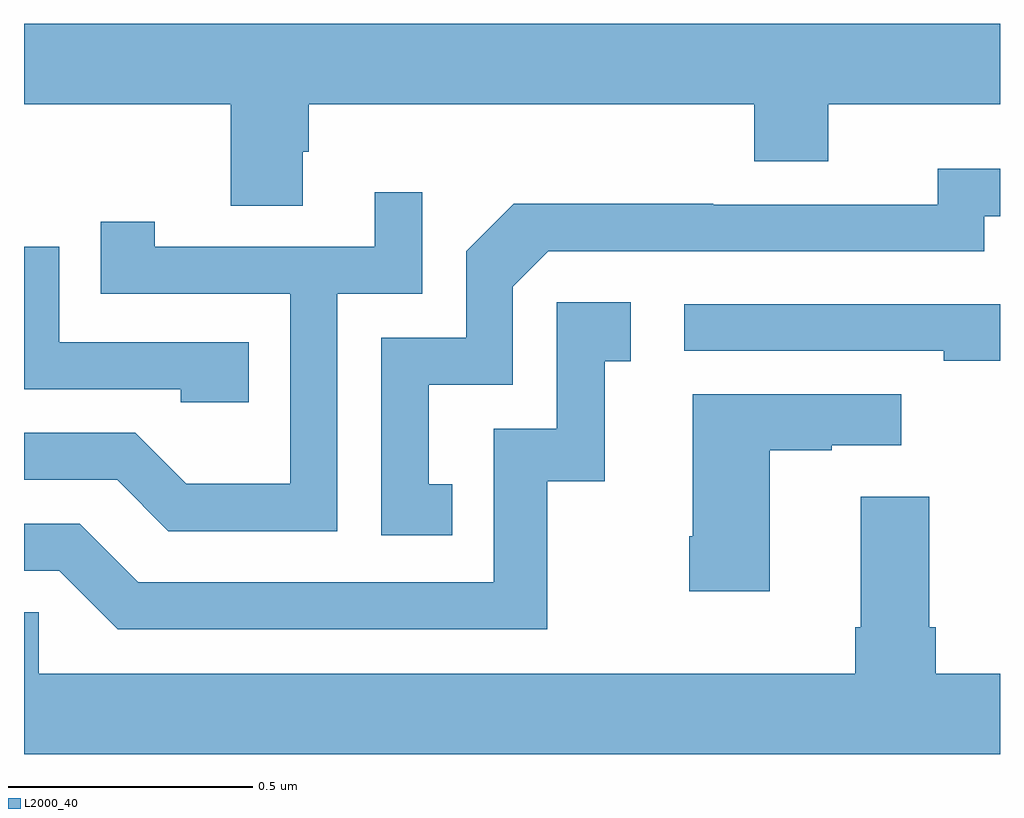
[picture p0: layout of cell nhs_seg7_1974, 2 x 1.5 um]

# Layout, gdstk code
import gdstk
lib = gdstk.Library(unit=1e-6, precision=1e-09)
def P(c, l, *ps):  # polygons
    for p in ps: c.add(gdstk.Polygon(p, *l))
L2000_40 = (2000, 40)

nhs_seg7_1974 = lib.new_cell('nhs_seg7_1974')
P(nhs_seg7_1974, L2000_40, [(138.571,1068.45),(138.584,1068.45),(138.584,1068.548),(139.496,1068.548),(139.496,1068.431),(139.648,1068.431),(139.648,1068.548),(140,1068.548),(140,1068.712),(138,1068.712),(138,1068.548),(138.424,1068.548),(138.424,1068.34),(138.571,1068.34)],
  [(138.878,1067.769),(138.829,1067.769),(138.829,1067.973),(139.002,1067.973),(139.002,1068.174),(139.074,1068.246),(139.968,1068.246),(139.968,1068.318),(140,1068.318),(140,1068.415),(139.872,1068.415),(139.872,1068.342),(139.412,1068.342),(139.412,1068.344),(139.004,1068.344),(138.906,1068.246),(138.906,1068.069),(138.732,1068.069),(138.732,1067.664),(138.878,1067.664)],
  [(138.642,1068.159),(138.816,1068.159),(138.816,1068.367),(138.719,1068.367),(138.719,1068.255),(138.268,1068.255),(138.268,1068.307),(138.157,1068.307),(138.157,1068.159),(138.546,1068.159),(138.546,1067.77),(138.332,1067.77),(138.228,1067.874),(138,1067.874),(138,1067.778),(138.191,1067.778),(138.296,1067.673),(138.642,1067.673)],
  [(138.461,1068.06),(138.072,1068.06),(138.072,1068.255),(138,1068.255),(138,1067.964),(138.321,1067.964),(138.321,1067.937),(138.461,1067.937)],
  [(139.072,1067.775),(139.19,1067.775),(139.19,1068.021),(139.243,1068.021),(139.243,1068.142),(139.092,1068.142),(139.092,1067.883),(138.963,1067.883),(138.963,1067.568),(138.234,1067.568),(138.114,1067.688),(138,1067.688),(138,1067.592),(138.072,1067.592),(138.192,1067.472),(139.072,1067.472)],
  [(140,1068.138),(139.353,1068.138),(139.353,1068.042),(139.885,1068.042),(139.885,1068.022),(140,1068.022)],
  [(139.528,1067.839),(139.655,1067.839),(139.655,1067.849),(139.798,1067.849),(139.798,1067.953),(139.37,1067.953),(139.37,1067.662),(139.363,1067.662),(139.363,1067.55),(139.528,1067.55)],
  [(140,1067.38),(139.868,1067.38),(139.868,1067.476),(139.855,1067.476),(139.855,1067.743),(139.715,1067.743),(139.715,1067.476),(139.703,1067.476),(139.703,1067.38),(138.03,1067.38),(138.03,1067.507),(138,1067.507),(138,1067.216),(140,1067.216)])

lib.write_gds('nhs_seg7_1974.gds')
